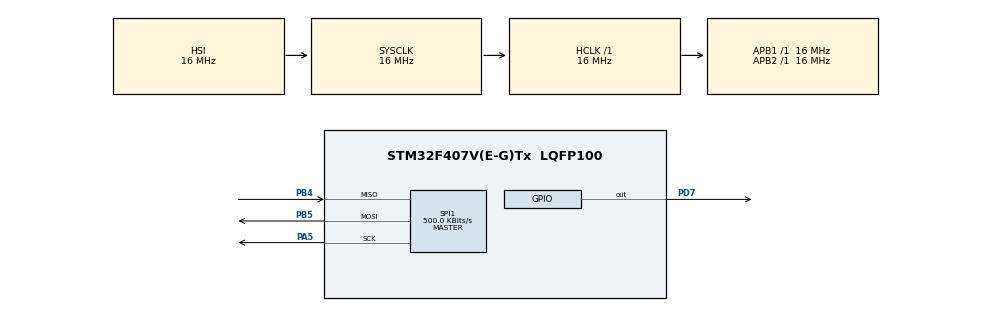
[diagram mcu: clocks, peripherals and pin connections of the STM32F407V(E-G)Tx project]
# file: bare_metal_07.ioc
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Mcu.Family=STM32F4
Mcu.Name=STM32F407V(E-G)Tx
Mcu.Package=LQFP100
NVIC.PriorityGroup=NVIC_PRIORITYGROUP_4
PA5.Mode=Full_Duplex_Master
PA5.Signal=SPI1_SCK
PB4.Mode=Full_Duplex_Master
PB4.Signal=SPI1_MISO
PB5.Mode=Full_Duplex_Master
PB5.Signal=SPI1_MOSI
PD7.Signal=GPIO_Output
ProjectManager.HeapSize=0x200
ProjectManager.StackSize=0x400
ProjectManager.TargetToolchain=STM32CubeIDE
RCC.AHBFreq_Value=16000000
RCC.APB1Freq_Value=16000000
RCC.APB2Freq_Value=16000000
RCC.CortexFreq_Value=16000000
RCC.HSE_VALUE=25000000
RCC.HSI_VALUE=16000000
RCC.LSE_VALUE=32768
RCC.SYSCLKFreq_VALUE=16000000
RCC.VCOOutputFreq_Value=192000000
SPI1.BaudRatePrescaler=SPI_BAUDRATEPRESCALER_32
SPI1.CalculateBaudRate=500.0 KBits/s
SPI1.Direction=SPI_DIRECTION_2LINES
SPI1.Mode=SPI_MODE_MASTER
SPI1.VirtualType=VM_MASTER
board=custom

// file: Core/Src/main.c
/* USER CODE BEGIN Header */
/**
  ******************************************************************************
  * @file           : main.c
  * @brief          : Main program body
  ******************************************************************************
  * @attention
  *
  * Copyright (c) 2023 STMicroelectronics.
  * All rights reserved.
  *
  * This software is licensed under terms that can be found in the LICENSE file
  * in the root directory of this software component.
  * If no LICENSE file comes with this software, it is provided AS-IS.
  *
  ******************************************************************************
  */
/* USER CODE END Header */
#include "main.h"

/* USER CODE BEGIN Includes */
#include "spi_flash.h"
/* USER CODE END Includes */

SPI_HandleTypeDef hspi1;

void SystemClock_Config(void);
static void MX_GPIO_Init(void);
static void MX_SPI1_Init(void);

int main(void)
{

  /* MCU Configuration--------------------------------------------------------*/

  /* Reset of all peripherals, Initializes the Flash interface and the Systick. */
  HAL_Init();

  /* Configure the system clock */
  SystemClock_Config();

  /* Initialize all configured peripherals */
  MX_GPIO_Init();
  MX_SPI1_Init();

  /* Infinite loop */
  /* USER CODE BEGIN WHILE */
  char text_buffer[SECTORS_AMOUNT][SYMS_PER_SECTOR] = { 0 };
  char *text[] = {
		  "From: nikitakliatskyi, nikitakliatskyi@gmail.com\n",
		  "Mentor: Minloud, artem.dovhal@globallogic.com\n",
		  "Date: 27.03.23\n",
		  "TIME CAPSULE\n",
		  "Each man on earth has his own fate,\n",
		  "Each one his highway wide:\n",
		  "This one builds up, that one lays waste,\n",
		  "And that casts greedy eyes\n",
		  "O'er all the globe, to find somewhere\n",
		  "A land not yet enslaved,\n",
		  "Which he could conquer and then bear \n",
		  "With him into the grave.\n"
  };

  HAL_GPIO_WritePin(GPIOD, GPIO_PIN_7, GPIO_PIN_SET);
  HAL_Delay(100);

  Erase_Memory();
  HAL_Delay(100);

  for(uint32_t i = 0; i < (sizeof(text) / sizeof(char*)); i++)
  {
	  Write_Sector(text[i], i * SECTOR_SIZE);
  }
  HAL_Delay(100);

  for(uint32_t i = 0; i < SECTORS_AMOUNT; i++)
  {
	  Read_Sector(text_buffer[i], i * SECTOR_SIZE);
  }

  while (1)
  {
	  /* USER CODE END WHILE */

  }
}

void SystemClock_Config(void)
{
  RCC_OscInitTypeDef RCC_OscInitStruct = {0};
  RCC_ClkInitTypeDef RCC_ClkInitStruct = {0};

  /** Configure the main internal regulator output voltage
  */
  __HAL_RCC_PWR_CLK_ENABLE();
  __HAL_PWR_VOLTAGESCALING_CONFIG(PWR_REGULATOR_VOLTAGE_SCALE1);

  /** Initializes the RCC Oscillators according to the specified parameters
  * in the RCC_OscInitTypeDef structure.
  */
  RCC_OscInitStruct.OscillatorType = RCC_OSCILLATORTYPE_HSI;
  RCC_OscInitStruct.HSIState = RCC_HSI_ON;
  RCC_OscInitStruct.HSICalibrationValue = RCC_HSICALIBRATION_DEFAULT;
  RCC_OscInitStruct.PLL.PLLState = RCC_PLL_NONE;
  if (HAL_RCC_OscConfig(&RCC_OscInitStruct) != HAL_OK)
  {
    Error_Handler();
  }

  /** Initializes the CPU, AHB and APB buses clocks
  */
  RCC_ClkInitStruct.ClockType = RCC_CLOCKTYPE_HCLK|RCC_CLOCKTYPE_SYSCLK
                              |RCC_CLOCKTYPE_PCLK1|RCC_CLOCKTYPE_PCLK2;
  RCC_ClkInitStruct.SYSCLKSource = RCC_SYSCLKSOURCE_HSI;
  RCC_ClkInitStruct.AHBCLKDivider = RCC_SYSCLK_DIV1;
  RCC_ClkInitStruct.APB1CLKDivider = RCC_HCLK_DIV1;
  RCC_ClkInitStruct.APB2CLKDivider = RCC_HCLK_DIV1;

  if (HAL_RCC_ClockConfig(&RCC_ClkInitStruct, FLASH_LATENCY_0) != HAL_OK)
  {
    Error_Handler();
  }
}

static void MX_SPI1_Init(void)
{

  /* SPI1 parameter configuration*/
  hspi1.Instance = SPI1;
  hspi1.Init.Mode = SPI_MODE_MASTER;
  hspi1.Init.Direction = SPI_DIRECTION_2LINES;
  hspi1.Init.DataSize = SPI_DATASIZE_8BIT;
  hspi1.Init.CLKPolarity = SPI_POLARITY_LOW;
  hspi1.Init.CLKPhase = SPI_PHASE_1EDGE;
  hspi1.Init.NSS = SPI_NSS_SOFT;
  hspi1.Init.BaudRatePrescaler = SPI_BAUDRATEPRESCALER_32;
  hspi1.Init.FirstBit = SPI_FIRSTBIT_MSB;
  hspi1.Init.TIMode = SPI_TIMODE_DISABLE;
  hspi1.Init.CRCCalculation = SPI_CRCCALCULATION_DISABLE;
  hspi1.Init.CRCPolynomial = 10;
  if (HAL_SPI_Init(&hspi1) != HAL_OK)
  {
    Error_Handler();
  }

}

static void MX_GPIO_Init(void)
{
  GPIO_InitTypeDef GPIO_InitStruct = {0};

  /* GPIO Ports Clock Enable */
  __HAL_RCC_GPIOA_CLK_ENABLE();
  __HAL_RCC_GPIOD_CLK_ENABLE();
  __HAL_RCC_GPIOB_CLK_ENABLE();

  /*Configure GPIO pin Output Level */
  HAL_GPIO_WritePin(GPIOD, GPIO_PIN_7, GPIO_PIN_RESET);

  /*Configure GPIO pin : PD7 */
  GPIO_InitStruct.Pin = GPIO_PIN_7;
  GPIO_InitStruct.Mode = GPIO_MODE_OUTPUT_PP;
  GPIO_InitStruct.Pull = GPIO_NOPULL;
  GPIO_InitStruct.Speed = GPIO_SPEED_FREQ_LOW;
  HAL_GPIO_Init(GPIOD, &GPIO_InitStruct);

}

void Error_Handler(void)
{
  __disable_irq();
  while (1)
  {
  }
}
